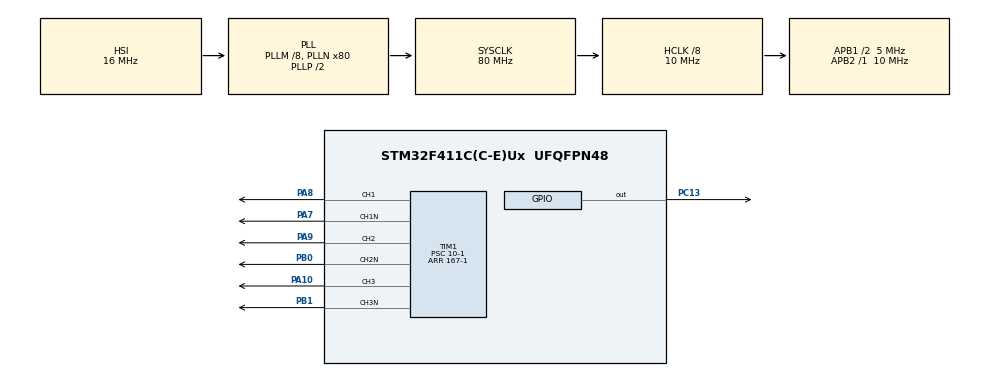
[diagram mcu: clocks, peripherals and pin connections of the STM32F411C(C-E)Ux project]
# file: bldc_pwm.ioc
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Dma.Request0=TIM1_CH1
Dma.Request1=TIM1_CH2
Dma.Request2=TIM1_CH3
Dma.TIM1_CH1.0.Direction=DMA_MEMORY_TO_PERIPH
Dma.TIM1_CH1.0.FIFOMode=DMA_FIFOMODE_ENABLE
Dma.TIM1_CH1.0.FIFOThreshold=DMA_FIFO_THRESHOLD_FULL
Dma.TIM1_CH1.0.Instance=DMA2_Stream1
Dma.TIM1_CH1.0.MemBurst=DMA_MBURST_SINGLE
Dma.TIM1_CH1.0.MemDataAlignment=DMA_MDATAALIGN_HALFWORD
Dma.TIM1_CH1.0.MemInc=DMA_MINC_ENABLE
Dma.TIM1_CH1.0.Mode=DMA_CIRCULAR
Dma.TIM1_CH1.0.PeriphBurst=DMA_PBURST_SINGLE
Dma.TIM1_CH1.0.PeriphDataAlignment=DMA_PDATAALIGN_HALFWORD
Dma.TIM1_CH1.0.PeriphInc=DMA_PINC_DISABLE
Dma.TIM1_CH1.0.Priority=DMA_PRIORITY_HIGH
Dma.TIM1_CH2.1.Direction=DMA_MEMORY_TO_PERIPH
Dma.TIM1_CH2.1.FIFOMode=DMA_FIFOMODE_ENABLE
Dma.TIM1_CH2.1.FIFOThreshold=DMA_FIFO_THRESHOLD_FULL
Dma.TIM1_CH2.1.Instance=DMA2_Stream2
Dma.TIM1_CH2.1.MemBurst=DMA_MBURST_SINGLE
Dma.TIM1_CH2.1.MemDataAlignment=DMA_MDATAALIGN_HALFWORD
Dma.TIM1_CH2.1.MemInc=DMA_MINC_ENABLE
Dma.TIM1_CH2.1.Mode=DMA_CIRCULAR
Dma.TIM1_CH2.1.PeriphBurst=DMA_PBURST_SINGLE
Dma.TIM1_CH2.1.PeriphDataAlignment=DMA_PDATAALIGN_HALFWORD
Dma.TIM1_CH2.1.PeriphInc=DMA_PINC_DISABLE
Dma.TIM1_CH2.1.Priority=DMA_PRIORITY_HIGH
Dma.TIM1_CH3.2.Direction=DMA_MEMORY_TO_PERIPH
Dma.TIM1_CH3.2.FIFOMode=DMA_FIFOMODE_ENABLE
Dma.TIM1_CH3.2.FIFOThreshold=DMA_FIFO_THRESHOLD_FULL
Dma.TIM1_CH3.2.Instance=DMA2_Stream6
Dma.TIM1_CH3.2.MemBurst=DMA_MBURST_SINGLE
Dma.TIM1_CH3.2.MemDataAlignment=DMA_MDATAALIGN_HALFWORD
Dma.TIM1_CH3.2.MemInc=DMA_MINC_ENABLE
Dma.TIM1_CH3.2.Mode=DMA_CIRCULAR
Dma.TIM1_CH3.2.PeriphBurst=DMA_PBURST_SINGLE
Dma.TIM1_CH3.2.PeriphDataAlignment=DMA_PDATAALIGN_HALFWORD
Dma.TIM1_CH3.2.PeriphInc=DMA_PINC_DISABLE
Dma.TIM1_CH3.2.Priority=DMA_PRIORITY_HIGH
Mcu.Family=STM32F4
Mcu.Name=STM32F411C(C-E)Ux
Mcu.Package=UFQFPN48
NVIC.DMA2_Stream1_IRQn=true\:0\:0\:false\:false\:true\:false\:true\:true
NVIC.DMA2_Stream2_IRQn=true\:0\:0\:false\:false\:true\:false\:true\:true
NVIC.DMA2_Stream6_IRQn=true\:0\:0\:false\:false\:true\:false\:true\:true
NVIC.PriorityGroup=NVIC_PRIORITYGROUP_4
PA10.Signal=S_TIM1_CH3
PA13.Mode=Serial_Wire
PA13.Signal=SYS_JTMS-SWDIO
PA14.Mode=Serial_Wire
PA14.Signal=SYS_JTCK-SWCLK
PA7.Mode=PWM Generation1 CH1 CH1N
PA7.Signal=TIM1_CH1N
PA8.Signal=S_TIM1_CH1
PA9.Signal=S_TIM1_CH2
PB0.Mode=PWM Generation2 CH2 CH2N
PB0.Signal=TIM1_CH2N
PB1.Mode=PWM Generation3 CH3 CH3N
PB1.Signal=TIM1_CH3N
PC13-ANTI_TAMP.PinState=GPIO_PIN_SET
PC13-ANTI_TAMP.Signal=GPIO_Output
ProjectManager.HeapSize=0x200
ProjectManager.StackSize=0x400
ProjectManager.TargetToolchain=STM32CubeIDE
RCC.48MHZClocksFreq_Value=40000000
RCC.AHBCLKDivider=RCC_SYSCLK_DIV8
RCC.AHBFreq_Value=10000000
RCC.APB1CLKDivider=RCC_HCLK_DIV2
RCC.APB1Freq_Value=5000000
RCC.APB1TimFreq_Value=10000000
RCC.APB2Freq_Value=10000000
RCC.APB2TimFreq_Value=10000000
RCC.CortexFreq_Value=10000000
RCC.HCLKFreq_Value=10000000
RCC.HSE_VALUE=25000000
RCC.HSI_VALUE=16000000
RCC.LSE_VALUE=32768
RCC.PLLM=8
RCC.PLLN=80
RCC.SYSCLKFreq_VALUE=80000000
RCC.SYSCLKSource=RCC_SYSCLKSOURCE_PLLCLK
RCC.VCOOutputFreq_Value=160000000
SH.S_TIM1_CH1.0=TIM1_CH1,PWM Generation1 CH1 CH1N
SH.S_TIM1_CH2.0=TIM1_CH2,PWM Generation2 CH2 CH2N
SH.S_TIM1_CH3.0=TIM1_CH3,PWM Generation3 CH3 CH3N
TIM1.AutoReloadPreload=TIM_AUTORELOAD_PRELOAD_ENABLE
TIM1.BreakState=TIM_BREAK_ENABLE
TIM1.Channel-PWM\ Generation1\ CH1\ CH1N=TIM_CHANNEL_1
TIM1.Channel-PWM\ Generation2\ CH2\ CH2N=TIM_CHANNEL_2
TIM1.Channel-PWM\ Generation3\ CH3\ CH3N=TIM_CHANNEL_3
TIM1.DeadTime=100-1
TIM1.Period=167-1
TIM1.Prescaler=10-1
TIM1.Pulse-PWM\ Generation1\ CH1\ CH1N=0
TIM1.Pulse-PWM\ Generation2\ CH2\ CH2N=0
TIM1.TIM_MasterSlaveMode=TIM_MASTERSLAVEMODE_DISABLE
board=custom

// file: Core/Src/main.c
/* USER CODE BEGIN Header */
/**
  ******************************************************************************
  * @file           : main.c
  * @brief          : Main program body
  ******************************************************************************
  * @attention
  *
  * Copyright (c) 2025 STMicroelectronics.
  * All rights reserved.
  *
  * This software is licensed under terms that can be found in the LICENSE file
  * in the root directory of this software component.
  * If no LICENSE file comes with this software, it is provided AS-IS.
  *
  ******************************************************************************
  */
/* USER CODE END Header */
#include "main.h"

TIM_HandleTypeDef htim1;
DMA_HandleTypeDef hdma_tim1_ch1;
DMA_HandleTypeDef hdma_tim1_ch2;
DMA_HandleTypeDef hdma_tim1_ch3;

void SystemClock_Config(void);
static void MX_GPIO_Init(void);
static void MX_DMA_Init(void);
static void MX_TIM1_Init(void);

int main(void)
{

  /* MCU Configuration--------------------------------------------------------*/

  /* Reset of all peripherals, Initializes the Flash interface and the Systick. */
  HAL_Init();

  /* Configure the system clock */
  SystemClock_Config();

  /* Initialize all configured peripherals */
  MX_GPIO_Init();
  MX_DMA_Init();
  MX_TIM1_Init();
  /* USER CODE BEGIN 2 */
  int high = 167;
  int low = 0;

  uint16_t pwm_stepsA[6] = {high, high, 1, low, low, low};  // Duty cycle pattern
  uint16_t pwm_stepsB[6] = {low, low, high, high, 1, low}; //low, low, low, 1, high, high
  uint16_t pwm_stepsC[6] = {1, low, low, low, high, high};

//  uint16_t pwm_steps[6] = {500-1, 500-1, 500-1, 500-1, 500-1, 500-1}; //for 1000Hz

//  HAL_TIM_PWM_Start(&htim1, TIM_CHANNEL_1);
  HAL_TIM_PWM_Start_DMA(&htim1, TIM_CHANNEL_1, (uint32_t*)pwm_stepsA, 6);
  HAL_TIM_PWM_Start_DMA(&htim1, TIM_CHANNEL_2, (uint32_t*)pwm_stepsB, 6);
  HAL_TIM_PWM_Start_DMA(&htim1, TIM_CHANNEL_3, (uint32_t*)pwm_stepsC, 6);

  HAL_TIMEx_PWMN_Start(&htim1, TIM_CHANNEL_1);
  HAL_TIMEx_PWMN_Start(&htim1, TIM_CHANNEL_2);
  HAL_TIMEx_PWMN_Start(&htim1, TIM_CHANNEL_3);
//  while(TIM1->CNT<333);
//  HAL_TIM_PWM_Start(&htim3, TIM_CHANNEL_1);
//  HAL_TIM_PWM_Start(&htim3, TIM_CHANNEL_2);
//  while(TIM3->CNT<333);
//  HAL_TIM_PWM_Start(&htim4, TIM_CHANNEL_1);
//  HAL_TIM_PWM_Start(&htim4, TIM_CHANNEL_2);

//  int d = 1;
//  int h = 1;

//  TIM1->CCR1 = 500-1;  // Duty cycle 50%
//  TIM1->CCR2 = 250-1;  // Phase shift 120°
  //TIM1->EGR |= TIM_EGR_UG;  // Force update

  /* USER CODE END 2 */

  /* Infinite loop */
  /* USER CODE BEGIN WHILE */
  while (1)
  {
//
	high--;
	if(high<30){
		high=167;
	}

	TIM1->ARR = high-1;
//	TIM1->CNT = 0;
//	TIM1->EGR |= TIM_EGR_UG;
	HAL_Delay(50);
    /* USER CODE END WHILE */

  }
}

void SystemClock_Config(void)
{
  RCC_OscInitTypeDef RCC_OscInitStruct = {0};
  RCC_ClkInitTypeDef RCC_ClkInitStruct = {0};

  /** Configure the main internal regulator output voltage
  */
  __HAL_RCC_PWR_CLK_ENABLE();
  __HAL_PWR_VOLTAGESCALING_CONFIG(PWR_REGULATOR_VOLTAGE_SCALE1);

  /** Initializes the RCC Oscillators according to the specified parameters
  * in the RCC_OscInitTypeDef structure.
  */
  RCC_OscInitStruct.OscillatorType = RCC_OSCILLATORTYPE_HSI;
  RCC_OscInitStruct.HSIState = RCC_HSI_ON;
  RCC_OscInitStruct.HSICalibrationValue = RCC_HSICALIBRATION_DEFAULT;
  RCC_OscInitStruct.PLL.PLLState = RCC_PLL_ON;
  RCC_OscInitStruct.PLL.PLLSource = RCC_PLLSOURCE_HSI;
  RCC_OscInitStruct.PLL.PLLM = 8;
  RCC_OscInitStruct.PLL.PLLN = 80;
  RCC_OscInitStruct.PLL.PLLP = RCC_PLLP_DIV2;
  RCC_OscInitStruct.PLL.PLLQ = 4;
  if (HAL_RCC_OscConfig(&RCC_OscInitStruct) != HAL_OK)
  {
    Error_Handler();
  }

  /** Initializes the CPU, AHB and APB buses clocks
  */
  RCC_ClkInitStruct.ClockType = RCC_CLOCKTYPE_HCLK|RCC_CLOCKTYPE_SYSCLK
                              |RCC_CLOCKTYPE_PCLK1|RCC_CLOCKTYPE_PCLK2;
  RCC_ClkInitStruct.SYSCLKSource = RCC_SYSCLKSOURCE_PLLCLK;
  RCC_ClkInitStruct.AHBCLKDivider = RCC_SYSCLK_DIV8;
  RCC_ClkInitStruct.APB1CLKDivider = RCC_HCLK_DIV2;
  RCC_ClkInitStruct.APB2CLKDivider = RCC_HCLK_DIV1;

  if (HAL_RCC_ClockConfig(&RCC_ClkInitStruct, FLASH_LATENCY_0) != HAL_OK)
  {
    Error_Handler();
  }
}

static void MX_TIM1_Init(void)
{

  TIM_MasterConfigTypeDef sMasterConfig = {0};
  TIM_OC_InitTypeDef sConfigOC = {0};
  TIM_BreakDeadTimeConfigTypeDef sBreakDeadTimeConfig = {0};

  htim1.Instance = TIM1;
  htim1.Init.Prescaler = 10-1;
  htim1.Init.CounterMode = TIM_COUNTERMODE_UP;
  htim1.Init.Period = 167-1;
  htim1.Init.ClockDivision = TIM_CLOCKDIVISION_DIV1;
  htim1.Init.RepetitionCounter = 0;
  htim1.Init.AutoReloadPreload = TIM_AUTORELOAD_PRELOAD_ENABLE;
  if (HAL_TIM_PWM_Init(&htim1) != HAL_OK)
  {
    Error_Handler();
  }
  sMasterConfig.MasterOutputTrigger = TIM_TRGO_RESET;
  sMasterConfig.MasterSlaveMode = TIM_MASTERSLAVEMODE_DISABLE;
  if (HAL_TIMEx_MasterConfigSynchronization(&htim1, &sMasterConfig) != HAL_OK)
  {
    Error_Handler();
  }
  sConfigOC.OCMode = TIM_OCMODE_PWM1;
  sConfigOC.Pulse = 0;
  sConfigOC.OCPolarity = TIM_OCPOLARITY_HIGH;
  sConfigOC.OCNPolarity = TIM_OCNPOLARITY_HIGH;
  sConfigOC.OCFastMode = TIM_OCFAST_DISABLE;
  sConfigOC.OCIdleState = TIM_OCIDLESTATE_RESET;
  sConfigOC.OCNIdleState = TIM_OCNIDLESTATE_RESET;
  if (HAL_TIM_PWM_ConfigChannel(&htim1, &sConfigOC, TIM_CHANNEL_1) != HAL_OK)
  {
    Error_Handler();
  }
  if (HAL_TIM_PWM_ConfigChannel(&htim1, &sConfigOC, TIM_CHANNEL_2) != HAL_OK)
  {
    Error_Handler();
  }
  if (HAL_TIM_PWM_ConfigChannel(&htim1, &sConfigOC, TIM_CHANNEL_3) != HAL_OK)
  {
    Error_Handler();
  }
  sBreakDeadTimeConfig.OffStateRunMode = TIM_OSSR_DISABLE;
  sBreakDeadTimeConfig.OffStateIDLEMode = TIM_OSSI_DISABLE;
  sBreakDeadTimeConfig.LockLevel = TIM_LOCKLEVEL_OFF;
  sBreakDeadTimeConfig.DeadTime = 100-1;
  sBreakDeadTimeConfig.BreakState = TIM_BREAK_ENABLE;
  sBreakDeadTimeConfig.BreakPolarity = TIM_BREAKPOLARITY_HIGH;
  sBreakDeadTimeConfig.AutomaticOutput = TIM_AUTOMATICOUTPUT_DISABLE;
  if (HAL_TIMEx_ConfigBreakDeadTime(&htim1, &sBreakDeadTimeConfig) != HAL_OK)
  {
    Error_Handler();
  }
  HAL_TIM_MspPostInit(&htim1);

}

static void MX_DMA_Init(void)
{

  /* DMA controller clock enable */
  __HAL_RCC_DMA2_CLK_ENABLE();

  /* DMA interrupt init */
  /* DMA2_Stream1_IRQn interrupt configuration */
  HAL_NVIC_SetPriority(DMA2_Stream1_IRQn, 0, 0);
  HAL_NVIC_EnableIRQ(DMA2_Stream1_IRQn);
  /* DMA2_Stream2_IRQn interrupt configuration */
  HAL_NVIC_SetPriority(DMA2_Stream2_IRQn, 0, 0);
  HAL_NVIC_EnableIRQ(DMA2_Stream2_IRQn);
  /* DMA2_Stream6_IRQn interrupt configuration */
  HAL_NVIC_SetPriority(DMA2_Stream6_IRQn, 0, 0);
  HAL_NVIC_EnableIRQ(DMA2_Stream6_IRQn);

}

static void MX_GPIO_Init(void)
{
  GPIO_InitTypeDef GPIO_InitStruct = {0};

  /* GPIO Ports Clock Enable */
  __HAL_RCC_GPIOC_CLK_ENABLE();
  __HAL_RCC_GPIOA_CLK_ENABLE();
  __HAL_RCC_GPIOB_CLK_ENABLE();

  /*Configure GPIO pin Output Level */
  HAL_GPIO_WritePin(GPIOC, GPIO_PIN_13, GPIO_PIN_SET);

  /*Configure GPIO pin : PC13 */
  GPIO_InitStruct.Pin = GPIO_PIN_13;
  GPIO_InitStruct.Mode = GPIO_MODE_OUTPUT_PP;
  GPIO_InitStruct.Pull = GPIO_NOPULL;
  GPIO_InitStruct.Speed = GPIO_SPEED_FREQ_LOW;
  HAL_GPIO_Init(GPIOC, &GPIO_InitStruct);

}

void Error_Handler(void)
{
  __disable_irq();
  while (1)
  {
  }
}
